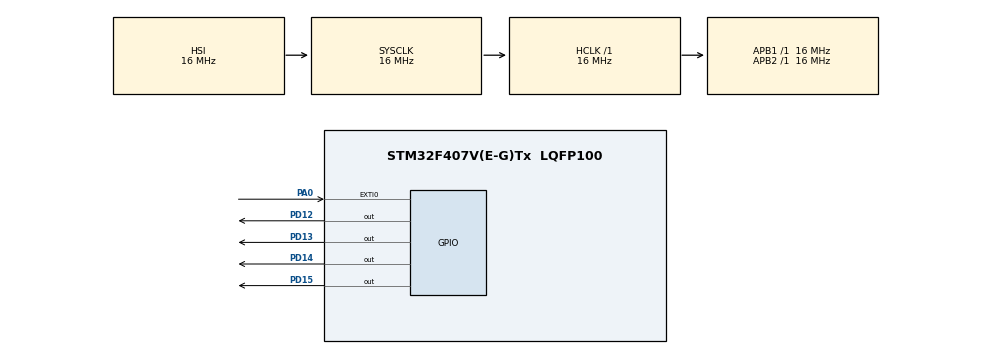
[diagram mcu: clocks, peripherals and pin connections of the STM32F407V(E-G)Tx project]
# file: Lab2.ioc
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Mcu.Family=STM32F4
Mcu.Name=STM32F407V(E-G)Tx
Mcu.Package=LQFP100
NVIC.EXTI0_IRQn=true\:0\:0\:false\:false\:true\:true\:true\:true
NVIC.PriorityGroup=NVIC_PRIORITYGROUP_4
PA0-WKUP.Signal=GPXTI0
PD12.Signal=GPIO_Output
PD13.Signal=GPIO_Output
PD14.Signal=GPIO_Output
PD15.Signal=GPIO_Output
ProjectManager.HeapSize=0x200
ProjectManager.StackSize=0x400
ProjectManager.TargetToolchain=STM32CubeIDE
RCC.AHBFreq_Value=16000000
RCC.APB1Freq_Value=16000000
RCC.APB2Freq_Value=16000000
RCC.CortexFreq_Value=16000000
RCC.HSE_VALUE=25000000
RCC.HSI_VALUE=16000000
RCC.LSE_VALUE=32768
RCC.SYSCLKFreq_VALUE=16000000
RCC.VCOOutputFreq_Value=192000000
board=custom

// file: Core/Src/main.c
/* USER CODE BEGIN Header */
/**
  ******************************************************************************
  * @file           : main.c
  * @brief          : Main program body
  ******************************************************************************
  * @attention
  *
  * Copyright (c) 2026 STMicroelectronics.
  * All rights reserved.
  *
  * This software is licensed under terms that can be found in the LICENSE file
  * in the root directory of this software component.
  * If no LICENSE file comes with this software, it is provided AS-IS.
  *
  ******************************************************************************
  */
/* USER CODE END Header */
#include "main.h"

/* USER CODE BEGIN PV */
volatile uint8_t current_algo = 0;
/* USER CODE END PV */

void SystemClock_Config(void);
static void MX_GPIO_Init(void);

int main(void)
{

  /* MCU Configuration--------------------------------------------------------*/

  /* Reset of all peripherals, Initializes the Flash interface and the Systick. */
  HAL_Init();

  /* Configure the system clock */
  SystemClock_Config();

  /* Initialize all configured peripherals */
  MX_GPIO_Init();
  /* USER CODE BEGIN 2 */
  uint32_t last_algo_switch = 0;
  /* USER CODE END 2 */

  /* Infinite loop */
  /* USER CODE BEGIN WHILE */
  while (1)
  {
	  if (HAL_GetTick() - last_algo_switch >= 3000)
	        {
	            last_algo_switch = HAL_GetTick();

	            current_algo++;
	            if (current_algo > 3)
	            {
	                current_algo = 0;
	            }
	        }

	  switch(current_algo)
	  {
	    case 0:
	    	HAL_GPIO_WritePin(GPIOD, GPIO_PIN_12, GPIO_PIN_SET);
	    	HAL_Delay(150);
	    	HAL_GPIO_WritePin(GPIOD, GPIO_PIN_12, GPIO_PIN_RESET);
	    	HAL_GPIO_WritePin(GPIOD, GPIO_PIN_13, GPIO_PIN_SET);
	    	HAL_Delay(150);
	    	HAL_GPIO_WritePin(GPIOD, GPIO_PIN_13, GPIO_PIN_RESET);
	    	HAL_GPIO_WritePin(GPIOD, GPIO_PIN_14, GPIO_PIN_SET);
	    	HAL_Delay(150);
	    	HAL_GPIO_WritePin(GPIOD, GPIO_PIN_14, GPIO_PIN_RESET);
	    	HAL_GPIO_WritePin(GPIOD, GPIO_PIN_15, GPIO_PIN_SET);
	    	HAL_Delay(150);
	    	HAL_GPIO_WritePin(GPIOD, GPIO_PIN_15, GPIO_PIN_RESET);
	      break;
	    case 1:
	    	HAL_GPIO_WritePin(GPIOD, GPIO_PIN_15, GPIO_PIN_SET);
	    	HAL_Delay(150);
	    	HAL_GPIO_WritePin(GPIOD, GPIO_PIN_15, GPIO_PIN_RESET);
	    	HAL_GPIO_WritePin(GPIOD, GPIO_PIN_14, GPIO_PIN_SET);
	    	HAL_Delay(150);
	    	HAL_GPIO_WritePin(GPIOD, GPIO_PIN_14, GPIO_PIN_RESET);
	    	HAL_GPIO_WritePin(GPIOD, GPIO_PIN_13, GPIO_PIN_SET);
	    	HAL_Delay(150);
	    	HAL_GPIO_WritePin(GPIOD, GPIO_PIN_13, GPIO_PIN_RESET);
	    	HAL_GPIO_WritePin(GPIOD, GPIO_PIN_12, GPIO_PIN_SET);
	    	HAL_Delay(150);
	    	HAL_GPIO_WritePin(GPIOD, GPIO_PIN_12, GPIO_PIN_RESET);
	      break;
	    case 2:
	    	HAL_GPIO_WritePin(GPIOD, GPIO_PIN_12, GPIO_PIN_SET);
	    	HAL_GPIO_WritePin(GPIOD, GPIO_PIN_14, GPIO_PIN_SET);
	    	HAL_Delay(250);
	    	HAL_GPIO_WritePin(GPIOD, GPIO_PIN_12, GPIO_PIN_RESET);
	    	HAL_GPIO_WritePin(GPIOD, GPIO_PIN_14, GPIO_PIN_RESET);
	    	HAL_Delay(250);
	    	HAL_GPIO_WritePin(GPIOD, GPIO_PIN_13, GPIO_PIN_SET);
	    	HAL_GPIO_WritePin(GPIOD, GPIO_PIN_15, GPIO_PIN_SET);
	    	HAL_Delay(250);
	    	HAL_GPIO_WritePin(GPIOD, GPIO_PIN_13, GPIO_PIN_RESET);
	    	HAL_GPIO_WritePin(GPIOD, GPIO_PIN_15, GPIO_PIN_RESET);
	    	HAL_Delay(250);
	      break;
	    case 3:
	    	HAL_GPIO_WritePin(GPIOD, GPIO_PIN_12, GPIO_PIN_SET);
	        HAL_Delay(150);
	    	HAL_GPIO_WritePin(GPIOD, GPIO_PIN_13, GPIO_PIN_SET);
	    	HAL_Delay(150);
	    	HAL_GPIO_WritePin(GPIOD, GPIO_PIN_14, GPIO_PIN_SET);
	    	HAL_Delay(150);
	    	HAL_GPIO_WritePin(GPIOD, GPIO_PIN_15, GPIO_PIN_SET);
	    	HAL_Delay(300);
	    	HAL_GPIO_WritePin(GPIOD, GPIO_PIN_12, GPIO_PIN_RESET);
	    	HAL_GPIO_WritePin(GPIOD, GPIO_PIN_14, GPIO_PIN_RESET);
	    	HAL_GPIO_WritePin(GPIOD, GPIO_PIN_13, GPIO_PIN_RESET);
	    	HAL_GPIO_WritePin(GPIOD, GPIO_PIN_15, GPIO_PIN_RESET);
	    	HAL_Delay(150);
	      break;
	  }
    /* USER CODE END WHILE */

  }
}

void SystemClock_Config(void)
{
  RCC_OscInitTypeDef RCC_OscInitStruct = {0};
  RCC_ClkInitTypeDef RCC_ClkInitStruct = {0};

  /** Configure the main internal regulator output voltage
  */
  __HAL_RCC_PWR_CLK_ENABLE();
  __HAL_PWR_VOLTAGESCALING_CONFIG(PWR_REGULATOR_VOLTAGE_SCALE1);

  /** Initializes the RCC Oscillators according to the specified parameters
  * in the RCC_OscInitTypeDef structure.
  */
  RCC_OscInitStruct.OscillatorType = RCC_OSCILLATORTYPE_HSI;
  RCC_OscInitStruct.HSIState = RCC_HSI_ON;
  RCC_OscInitStruct.HSICalibrationValue = RCC_HSICALIBRATION_DEFAULT;
  RCC_OscInitStruct.PLL.PLLState = RCC_PLL_NONE;
  if (HAL_RCC_OscConfig(&RCC_OscInitStruct) != HAL_OK)
  {
    Error_Handler();
  }

  /** Initializes the CPU, AHB and APB buses clocks
  */
  RCC_ClkInitStruct.ClockType = RCC_CLOCKTYPE_HCLK|RCC_CLOCKTYPE_SYSCLK
                              |RCC_CLOCKTYPE_PCLK1|RCC_CLOCKTYPE_PCLK2;
  RCC_ClkInitStruct.SYSCLKSource = RCC_SYSCLKSOURCE_HSI;
  RCC_ClkInitStruct.AHBCLKDivider = RCC_SYSCLK_DIV1;
  RCC_ClkInitStruct.APB1CLKDivider = RCC_HCLK_DIV1;
  RCC_ClkInitStruct.APB2CLKDivider = RCC_HCLK_DIV1;

  if (HAL_RCC_ClockConfig(&RCC_ClkInitStruct, FLASH_LATENCY_0) != HAL_OK)
  {
    Error_Handler();
  }
}

static void MX_GPIO_Init(void)
{
  GPIO_InitTypeDef GPIO_InitStruct = {0};

  /* GPIO Ports Clock Enable */
  __HAL_RCC_GPIOA_CLK_ENABLE();
  __HAL_RCC_GPIOD_CLK_ENABLE();

  /*Configure GPIO pin Output Level */
  HAL_GPIO_WritePin(GPIOD, GPIO_PIN_12|GPIO_PIN_13|GPIO_PIN_14|GPIO_PIN_15, GPIO_PIN_RESET);

  /*Configure GPIO pin : PA0 */
  GPIO_InitStruct.Pin = GPIO_PIN_0;
  GPIO_InitStruct.Mode = GPIO_MODE_IT_RISING;
  GPIO_InitStruct.Pull = GPIO_NOPULL;
  HAL_GPIO_Init(GPIOA, &GPIO_InitStruct);

  /*Configure GPIO pins : PD12 PD13 PD14 PD15 */
  GPIO_InitStruct.Pin = GPIO_PIN_12|GPIO_PIN_13|GPIO_PIN_14|GPIO_PIN_15;
  GPIO_InitStruct.Mode = GPIO_MODE_OUTPUT_PP;
  GPIO_InitStruct.Pull = GPIO_NOPULL;
  GPIO_InitStruct.Speed = GPIO_SPEED_FREQ_LOW;
  HAL_GPIO_Init(GPIOD, &GPIO_InitStruct);

  /* EXTI interrupt init*/
  HAL_NVIC_SetPriority(EXTI0_IRQn, 0, 0);
  HAL_NVIC_EnableIRQ(EXTI0_IRQn);

}

/* USER CODE BEGIN 4 */
void HAL_GPIO_EXTI_Callback(uint16_t GPIO_Pin)
{
	static uint32_t last_tick = 0;

	    if (GPIO_Pin == GPIO_PIN_0)
	    {
	        uint32_t now = HAL_GetTick();
	        if ((now - last_tick) >= 50)
	        {
	            last_tick = now;
	            current_algo++;
	            if (current_algo > 3)
	            {
	                current_algo = 0;
	            }
	        }
	    }
}
/* USER CODE END 4 */

void Error_Handler(void)
{
  __disable_irq();
  while (1)
  {
  }
}
